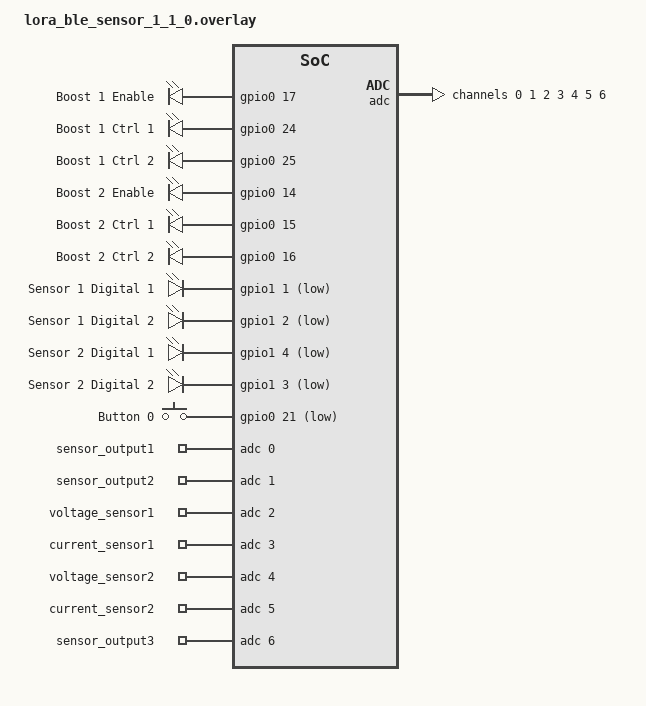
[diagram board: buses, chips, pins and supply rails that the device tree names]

/ {

	leds {
		compatible = "gpio-leds";
		boost1_en: boost1_en {
			gpios = <&gpio0 17 GPIO_ACTIVE_HIGH>;
			label = "Boost 1 Enable";
		};
		boost1_ctrl1: boost1_ctrl1 {
			gpios = <&gpio0 24 GPIO_ACTIVE_HIGH>;
			label = "Boost 1 Ctrl 1";
		};
		boost1_ctrl2: boost1_ctrl2 {
			gpios = <&gpio0 25 GPIO_ACTIVE_HIGH>;
			label = "Boost 1 Ctrl 2";
		};

		boost2_en: boost2_en {
			gpios = <&gpio0 14 GPIO_ACTIVE_HIGH>;
			label = "Boost 2 Enable";
		};
		boost2_ctrl1: boost2_ctrl1 {
			gpios = <&gpio0 15 GPIO_ACTIVE_HIGH>;
			label = "Boost 2 Ctrl 1";
		};
		boost2_ctrl2: boost2_ctrl2 {
			gpios = <&gpio0 16 GPIO_ACTIVE_HIGH>;
			label = "Boost 2 Ctrl 2";
		};

		sensor1_d1: sensor1_d1 {
			gpios = <&gpio1 1 GPIO_ACTIVE_LOW>;
			label = "Sensor 1 Digital 1";
		};
		sensor1_d2: sensor1_d2 {
			gpios = <&gpio1 2 GPIO_ACTIVE_LOW>;
			label = "Sensor 1 Digital 2";
		};

		sensor2_d1: sensor2_d1 {
			gpios = <&gpio1 4 GPIO_ACTIVE_LOW>;
			label = "Sensor 2 Digital 1";
		};
		sensor2_d2: sensor2_d2 {
			gpios = <&gpio1 3 GPIO_ACTIVE_LOW>;
			label = "Sensor 2 Digital 2";
		};
	};

	buttons {
		compatible = "gpio-keys";
		button0: button_0 {
			gpios = <&gpio0 21  (GPIO_PULL_UP | GPIO_ACTIVE_LOW)>;
			label = "Button 0";
			zephyr,code = <INPUT_KEY_0>;
		};
	};

	/* Declaration of aliases */
	aliases {
		sw0 = &button0;
		boost1en = &boost1_en;
		boost1ctrl1 = &boost1_ctrl1;
		boost1ctrl2 = &boost1_ctrl2;
		boost2en = &boost2_en;
		boost2ctrl1 = &boost2_ctrl1;
		boost2ctrl2 = &boost2_ctrl2;
		sensor1d1 = &sensor1_d1;
		sensor1d2 = &sensor1_d2;
		sensor2d1 = &sensor2_d1;
		sensor2d2 = &sensor2_d2;
	};
	zephyr,user {
		/* adjust channel number according to pinmux in board.dts */
		io-channels = <&adc 0>, <&adc 1>, <&adc 2>, <&adc 3>, <&adc 4>, <&adc 5>, <&adc 6>;
		io-channel-names = "sensor_output1", "sensor_output2", "voltage_sensor1", "current_sensor1", "voltage_sensor2", "current_sensor2", "sensor_output3";
	};
};


&adc {
	status = "okay";
	#address-cells = <1>;
	#size-cells = <0>;
    // Sensor Output Read 1
	channel@0 {
		reg = <0>;
		zephyr,gain = "ADC_GAIN_1_6";
		zephyr,reference = "ADC_REF_INTERNAL";
		zephyr,acquisition-time = <ADC_ACQ_TIME_DEFAULT>;
		zephyr,input-positive = <NRF_SAADC_AIN2>; 
		zephyr,resolution = <12>;
	};
    // Sensor Output Read 2
	channel@1 {
		reg = <1>;
		zephyr,gain = "ADC_GAIN_1_6";
		zephyr,reference = "ADC_REF_INTERNAL";
		zephyr,acquisition-time = <ADC_ACQ_TIME_DEFAULT>;
		zephyr,input-positive = <NRF_SAADC_AIN3>; 
		zephyr,resolution = <12>;
	};
    // Voltage Read Sensor 1
	channel@2 {
		reg = <2>;
		zephyr,gain = "ADC_GAIN_1_6";
		zephyr,reference = "ADC_REF_INTERNAL";
		zephyr,acquisition-time = <ADC_ACQ_TIME_DEFAULT>;
		zephyr,input-positive = <NRF_SAADC_AIN1>; 
		zephyr,resolution = <12>;
	};
    // Current Read Sensor 1
	channel@3 {
		reg = <3>;
		zephyr,gain = "ADC_GAIN_1_2";
		zephyr,reference = "ADC_REF_INTERNAL";
		zephyr,acquisition-time = <ADC_ACQ_TIME_DEFAULT>;
		zephyr,input-positive = <NRF_SAADC_AIN0>; 
		zephyr,resolution = <12>;
	};
    // Voltage Read Sensor 2
	channel@4 {
		reg = <4>;
		zephyr,gain = "ADC_GAIN_1_6";
		zephyr,reference = "ADC_REF_INTERNAL";
		zephyr,acquisition-time = <ADC_ACQ_TIME_DEFAULT>;
		zephyr,input-positive = <NRF_SAADC_AIN4>; 
		zephyr,resolution = <12>;
	};
    // Current Read Sensor 2
	channel@5 {
		reg = <5>;
		zephyr,gain = "ADC_GAIN_1_2";
		zephyr,reference = "ADC_REF_INTERNAL";
		zephyr,acquisition-time = <ADC_ACQ_TIME_DEFAULT>;
		zephyr,input-positive = <NRF_SAADC_AIN5>; 
		zephyr,resolution = <12>;
	};
    // Sensor Output Read 3
	channel@6 {
		reg = <6>;
		zephyr,gain = "ADC_GAIN_1_6";
		zephyr,reference = "ADC_REF_INTERNAL";
		zephyr,acquisition-time = <ADC_ACQ_TIME_DEFAULT>;
		zephyr,input-positive = <NRF_SAADC_AIN7>; 
		zephyr,resolution = <12>;
	};
};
